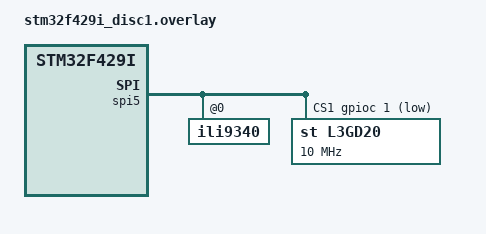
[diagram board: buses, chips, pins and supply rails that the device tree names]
/*
 * Copyright (c) 2020 Robert Wilbrandt
 *
 * SPDX-License-Identifier: BSD-3-Clause
 */

#include <dt-bindings/display/ili9xxx.h>

/ {
  aliases {
    status-led = &orange_led_3;
    error-led = &green_led_4;
    gyro = &l3gd20;
  };
};

&spi5 {
  cs-gpios = <&gpioc 2 GPIO_ACTIVE_LOW
              &gpioc 1 GPIO_ACTIVE_LOW>;

  ili9340@0 {
    pixel-format = <ILI9XXX_PIXEL_FORMAT_RGB888>;
    rotation = <90>;
  };

  l3gd20: l3gd20@1 {
    compatible = "st,l3gd20";
    label = "l3gd20";
    spi-max-frequency = <10000000>;
    reg = <1>;
    status = "okay";
  };
};
